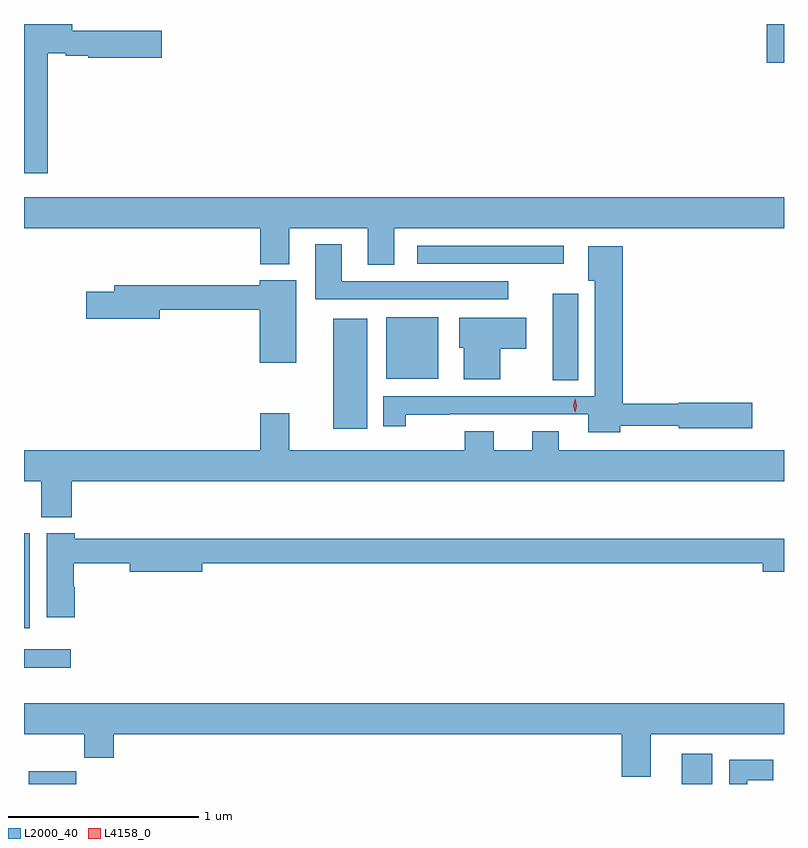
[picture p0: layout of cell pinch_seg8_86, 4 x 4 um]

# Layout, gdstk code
import gdstk
lib = gdstk.Library(unit=1e-6, precision=1e-09)
def R(c, l, rs):  # rectangles x0, y0, x1, y1
    for r in rs: c.add(gdstk.rectangle(r[:2], r[2:], *l))
def P(c, l, *ps):  # polygons
    for p in ps: c.add(gdstk.Polygon(p, *l))
L2000_40 = (2000, 40)
L4158_0 = (4158, 0)

pinch_seg8_86 = lib.new_cell('pinch_seg8_86')
R(pinch_seg8_86, L2000_40, [(1042.601,1117.571,1042.85,1117.639), (1046.036,1117.571,1046.197,1117.729), (1042.575,1118.184,1042.822,1118.28), (1042.575,1118.39,1042.606,1118.89), (1044.203,1119.44,1044.382,1120.021), (1045.358,1119.697,1045.492,1120.15), (1044.482,1119.704,1044.754,1120.027), (1044.645,1120.308,1045.417,1120.404), (1046.483,1121.367,1046.575,1121.571)])
P(pinch_seg8_86, L2000_40, [(1042.699,1121.417),(1042.796,1121.417),(1042.796,1121.405),(1042.914,1121.405),(1042.914,1121.393),(1043.299,1121.393),(1043.299,1121.535),(1042.828,1121.535),(1042.828,1121.571),(1042.577,1121.571),(1042.577,1120.785),(1042.699,1120.785)],
  [(1044.523,1120.496),(1046.575,1120.496),(1046.575,1120.66),(1042.575,1120.66),(1042.575,1120.496),(1043.819,1120.496),(1043.819,1120.307),(1043.971,1120.307),(1043.971,1120.496),(1044.383,1120.496),(1044.383,1120.303),(1044.523,1120.303)],
  [(1045.123,1120.218),(1044.247,1120.218),(1044.247,1120.411),(1044.107,1120.411),(1044.107,1120.122),(1045.123,1120.122)],
  [(1045.714,1119.456),(1046.022,1119.456),(1046.022,1119.443),(1046.407,1119.443),(1046.407,1119.578),(1046.022,1119.578),(1046.022,1119.572),(1045.727,1119.572),(1045.727,1120.402),(1045.544,1120.402),(1045.544,1120.22),(1045.58,1120.22),(1045.58,1119.612),(1044.467,1119.612),(1044.467,1119.453),(1044.585,1119.453),(1044.585,1119.515),(1044.812,1119.515),(1044.812,1119.516),(1045.544,1119.516),(1045.544,1119.422),(1045.714,1119.422)],
  [(1044.007,1120.222),(1043.816,1120.222),(1043.816,1120.195),(1043.051,1120.195),(1043.051,1120.161),(1042.902,1120.161),(1042.902,1120.019),(1043.29,1120.019),(1043.29,1120.066),(1043.816,1120.066),(1043.816,1119.788),(1044.007,1119.788)],
  [(1045.081,1119.863),(1045.219,1119.863),(1045.219,1120.024),(1044.866,1120.024),(1044.866,1119.867),(1044.89,1119.867),(1044.89,1119.701),(1045.081,1119.701)],
  [(1042.826,1119.164),(1046.575,1119.164),(1046.575,1119.328),(1045.39,1119.328),(1045.39,1119.427),(1045.25,1119.427),(1045.25,1119.328),(1045.048,1119.328),(1045.048,1119.427),(1044.896,1119.427),(1044.896,1119.328),(1043.971,1119.328),(1043.971,1119.523),(1043.819,1119.523),(1043.819,1119.328),(1042.575,1119.328),(1042.575,1119.164),(1042.666,1119.164),(1042.666,1118.975),(1042.826,1118.975)],
  [(1042.841,1118.609),(1042.836,1118.609),(1042.836,1118.734),(1043.132,1118.734),(1043.132,1118.687),(1043.512,1118.687),(1043.512,1118.734),(1046.462,1118.734),(1046.462,1118.687),(1046.575,1118.687),(1046.575,1118.863),(1042.841,1118.863),(1042.841,1118.89),(1042.694,1118.89),(1042.694,1118.448),(1042.841,1118.448)],
  [(1045.873,1117.832),(1046.575,1117.832),(1046.575,1117.996),(1042.575,1117.996),(1042.575,1117.832),(1042.891,1117.832),(1042.891,1117.708),(1043.048,1117.708),(1043.048,1117.832),(1045.721,1117.832),(1045.721,1117.608),(1045.873,1117.608)],
  [(1046.382,1117.592),(1046.518,1117.592),(1046.518,1117.699),(1046.286,1117.699),(1046.286,1117.571),(1046.382,1117.571)])
P(pinch_seg8_86, L4158_0, [(1045.475,1119.527),(1045.475,1119.528),(1045.466,1119.563),(1045.476,1119.599),(1045.476,1119.599),(1045.476,1119.599),(1045.485,1119.563),(1045.475,1119.528)])

lib.write_gds('pinch_seg8_86.gds')
